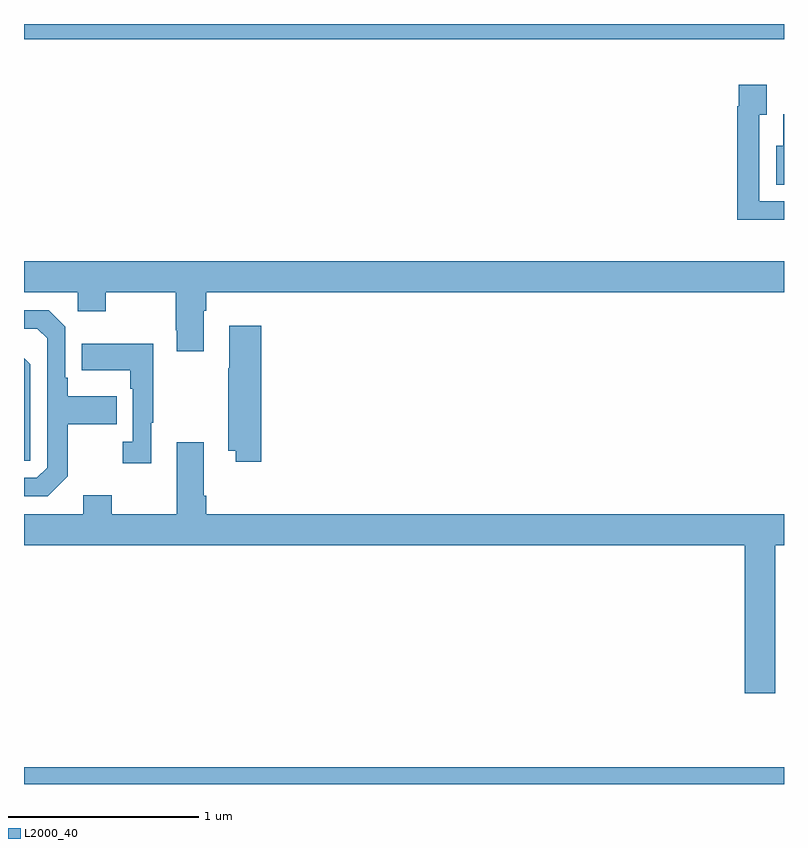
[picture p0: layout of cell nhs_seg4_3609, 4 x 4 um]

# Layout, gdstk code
import gdstk
lib = gdstk.Library(unit=1e-6, precision=1e-09)
def R(c, l, rs):  # rectangles x0, y0, x1, y1
    for r in rs: c.add(gdstk.rectangle(r[:2], r[2:], *l))
def P(c, l, *ps):  # polygons
    for p in ps: c.add(gdstk.Polygon(p, *l))
L2000_40 = (2000, 40)

nhs_seg4_3609 = lib.new_cell('nhs_seg4_3609')
R(nhs_seg4_3609, L2000_40, [(301,792.9,305,792.988), (301,796.82,305,796.9)])
P(nhs_seg4_3609, L2000_40, [(305,795.966),(304.869,795.966),(304.869,796.423),(304.909,796.423),(304.909,796.579),(304.761,796.579),(304.761,796.466),(304.753,796.466),(304.753,795.869),(305,795.869)],
  [(305,796.426),(304.997,796.426),(304.997,796.258),(304.958,796.258),(304.958,796.055),(305,796.055)],
  [(301,795.488),(301.284,795.488),(301.284,795.389),(301.431,795.389),(301.431,795.488),(301.798,795.488),(301.798,795.289),(301.805,795.289),(301.805,795.177),(301.945,795.177),(301.945,795.392),(301.958,795.392),(301.958,795.488),(305,795.488),(305,795.652),(301,795.652)],
  [(301.231,794.521),(301.231,794.794),(301.487,794.794),(301.487,794.941),(301.231,794.941),(301.231,795.037),(301.218,795.037),(301.218,795.306),(301.131,795.393),(301,795.393),(301,795.297),(301.071,795.297),(301.122,795.246),(301.122,794.565),(301.068,794.511),(301,794.511),(301,794.415),(301.125,794.415)],
  [(302.249,795.313),(302.081,795.313),(302.081,795.089),(302.074,795.089),(302.074,794.654),(302.114,794.654),(302.114,794.595),(302.249,794.595)],
  [(301.669,794.801),(301.681,794.801),(301.681,795.217),(301.303,795.217),(301.303,795.077),(301.56,795.077),(301.56,794.981),(301.572,794.981),(301.572,794.702),(301.521,794.702),(301.521,794.589),(301.669,794.589)],
  [(301.032,795.108),(301,795.14),(301,794.601),(301.032,794.601)],
  [(304.953,794.156),(305,794.156),(305,794.32),(301.958,794.32),(301.958,794.416),(301.945,794.416),(301.945,794.698),(301.805,794.698),(301.805,794.32),(301.461,794.32),(301.461,794.419),(301.313,794.419),(301.313,794.32),(301,794.32),(301,794.156),(304.793,794.156),(304.793,793.377),(304.953,793.377)])

lib.write_gds('nhs_seg4_3609.gds')
